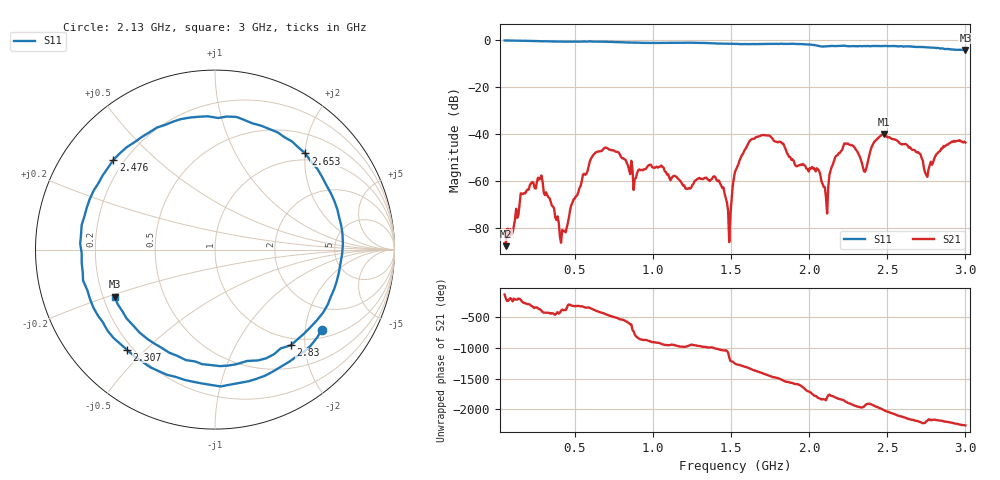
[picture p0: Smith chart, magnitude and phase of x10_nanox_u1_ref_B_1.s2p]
! nanovna_capture.py 2026-10-18T20:28:06+0900
! NanoVNA-F_V2 fw 0.6.0 SN 4A3639384505514B
! cal: load open short thru cal'ed  over 50000000-3000000000 Hz, 201 points
! points 401, avg 4
! S21: port1 = green ~10 mm H loop (flat, tape), port2 = GSM antenna; genuine Nano X u1 at position B, placement 1
# HZ S RI R 50
! S12 and S22 are not measured (written as 0)
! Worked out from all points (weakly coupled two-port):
!   401 points, 50 MHz to 3 GHz, reference 50 ohm
!   highest |S21| = -40.02 dB at 2.476 GHz (marker M1); lowest = -87.9 dB at 57.38 MHz (marker M2)
!   lowest |S11| = -4.2 dB at 3 GHz (marker M3), VSWR 4.20, Z = 12.5 - j10.5 ohm
!   |S11| at or under -10 dB: nowhere
!   S12 and S22 are empty: the file has one direction only
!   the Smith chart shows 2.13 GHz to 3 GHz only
!   S11 on the Smith chart (normalised r, x): 2.13 GHz: 1.23, -2.45; 2.307 GHz: 0.18, -0.44; 2.476 GHz: 0.16, +0.37; 2.653 GHz: 0.86, +2.01; 2.83 GHz: 0.87, -1.72; 3 GHz: 0.25, -0.21
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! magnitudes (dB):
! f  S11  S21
! 50 MHz  -0.1  -86.6
! 57.38 MHz  -0.1  -87.9
! 278.6 MHz  -0.4  -58.9
! 433.5 MHz  -0.6  -81.4
! 544.1 MHz  -0.6  -60.1
! 699 MHz  -0.7  -45.8
! 1.038 GHz  -1.2  -54.1
! 1.407 GHz  -1.4  -59.8
! 1.488 GHz  -1.5  -86.2
! 1.525 GHz  -1.6  -56.2
! 1.702 GHz  -1.6  -40.5
! 2.019 GHz  -1.9  -54.1
! 2.13 GHz  -2.6  -57.4
! 2.233 GHz  -2.4  -44.1
! 2.307 GHz  -2.6  -47.4
! 2.358 GHz  -2.5  -56.2
! 2.476 GHz  -2.4  -40.0
! 2.513 GHz  -2.5  -41.4
! 2.653 GHz  -2.7  -46.5
! 2.749 GHz  -3.1  -57.5
! 2.83 GHz  -3.4  -47.6
! 3 GHz  -4.2  -43.7
